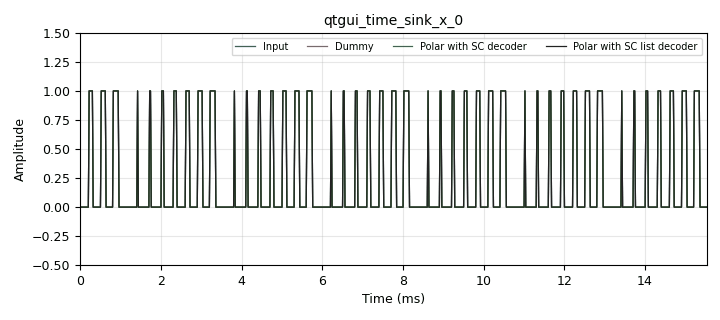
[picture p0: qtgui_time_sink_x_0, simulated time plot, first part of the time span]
<?xml version='1.0' encoding='utf-8'?>
<?grc format='1' created='3.7.9'?>
<flow_graph>
<block>
<key>options</key>
<param><key>id</key><value>fecapi_polar_decoders</value></param>
<param><key>category</key><value>Custom</value></param>
<param><key>generate_options</key><value>qt_gui</value></param>
<param><key>title</key><value>Polar Decoders Example</value></param>
</block>
<block>
<key>variable</key>
<param><key>id</key><value>block_size</value></param>
<param><key>comment</key><value>codeword size of polar codes.

MUST be a power of 2!
MUST be greater than 'frame_size'.</value></param>
<param><key>value</key><value>512</value></param>
</block>
<block>
<key>variable_dummy_decoder_def</key>
<param><key>id</key><value>dec_dummy</value></param>
<param><key>framebits</key><value>frame_size*8</value></param>
<param><key>ndim</key><value>0</value></param>
</block>
<block>
<key>variable_dummy_encoder_def</key>
<param><key>id</key><value>enc_dummy</value></param>
<param><key>framebits</key><value>frame_size*8</value></param>
<param><key>ndim</key><value>0</value></param>
</block>
<block>
<key>variable_polar_code_configurator</key>
<param><key>id</key><value>polar_config</value></param>
<param><key>num_info_bits</key><value>frame_size * 8</value></param>
<param><key>block_size</key><value>block_size</value></param>
<param><key>channel</key><value>polar.CHANNEL_TYPE_BEC</value></param>
<param><key>comment</key><value>Block is used to configure polar encoders and decoders.

returns dictionary with requested configuration.

most important dict values: 'values' and 'positions'</value></param>
<param><key>design_snr</key><value>0.0</value></param>
<param><key>mu</key><value>32</value></param>
</block>
<block>
<key>variable_polar_decoder_sc_def</key>
<param><key>id</key><value>polar_decoder_sc</value></param>
<param><key>num_info_bits</key><value>frame_size * 8</value></param>
<param><key>block_size</key><value>block_size</value></param>
<param><key>comment</key><value>Standard 'Successive Cancellation' decoder.

performs better with greater block size.
This is due to stronger polarization at higher block sizes.</value></param>
<param><key>frozen_bit_positions</key><value>polar_config['positions']</value></param>
<param><key>frozen_bit_values</key><value>polar_config['values']</value></param>
<param><key>ndim</key><value>0</value></param>
</block>
<block>
<key>variable_polar_decoder_sc_list_def</key>
<param><key>id</key><value>polar_decoder_scl</value></param>
<param><key>num_info_bits</key><value>frame_size * 8</value></param>
<param><key>block_size</key><value>block_size</value></param>
<param><key>comment</key><value>Advanced 'Successive Cancellation List' decoder

Greater list size usually results in better decoding performance.
But it is computationally more heavy.</value></param>
<param><key>frozen_bit_positions</key><value>polar_config['positions']</value></param>
<param><key>frozen_bit_values</key><value>polar_config['values']</value></param>
<param><key>max_list_size</key><value>8</value></param>
<param><key>ndim</key><value>0</value></param>
</block>
<block>
<key>variable_polar_encoder_def</key>
<param><key>id</key><value>polar_encoder_sc</value></param>
<param><key>num_info_bits</key><value>frame_size * 8</value></param>
<param><key>block_size</key><value>block_size</value></param>
<param><key>frozen_bit_positions</key><value>polar_config['positions']</value></param>
<param><key>frozen_bit_values</key><value>polar_config['values']</value></param>
<param><key>is_packed</key><value>False</value></param>
<param><key>ndim</key><value>0</value></param>
</block>
<block>
<key>variable_polar_encoder_def</key>
<param><key>id</key><value>polar_encoder_scl</value></param>
<param><key>num_info_bits</key><value>frame_size * 8</value></param>
<param><key>block_size</key><value>block_size</value></param>
<param><key>frozen_bit_positions</key><value>polar_config['positions']</value></param>
<param><key>frozen_bit_values</key><value>polar_config['values']</value></param>
<param><key>is_packed</key><value>False</value></param>
<param><key>ndim</key><value>0</value></param>
</block>
<block>
<key>variable</key>
<param><key>id</key><value>samp_rate</value></param>
<param><key>value</key><value>50000</value></param>
</block>
<block>
<key>analog_random_source_x</key>
<param><key>id</key><value>analog_random_source_x_0</value></param>
<param><key>_enabled</key><value>False</value></param>
<param><key>max</key><value>256</value></param>
<param><key>min</key><value>0</value></param>
<param><key>num_samps</key><value>1000</value></param>
<param><key>type</key><value>byte</value></param>
<param><key>repeat</key><value>True</value></param>
</block>
<block>
<key>blocks_char_to_float</key>
<param><key>id</key><value>blocks_char_to_float_0</value></param>
<param><key>scale</key><value>1</value></param>
</block>
<block>
<key>blocks_char_to_float</key>
<param><key>id</key><value>blocks_char_to_float_0_0</value></param>
<param><key>scale</key><value>1</value></param>
</block>
<block>
<key>blocks_char_to_float</key>
<param><key>id</key><value>blocks_char_to_float_0_0_0</value></param>
<param><key>scale</key><value>1</value></param>
</block>
<block>
<key>blocks_char_to_float</key>
<param><key>id</key><value>blocks_char_to_float_0_0_0_0</value></param>
<param><key>scale</key><value>1</value></param>
</block>
<block>
<key>blocks_char_to_float</key>
<param><key>id</key><value>blocks_char_to_float_0_1</value></param>
<param><key>scale</key><value>1</value></param>
</block>
<block>
<key>blocks_char_to_float</key>
<param><key>id</key><value>blocks_char_to_float_0_2</value></param>
<param><key>scale</key><value>1</value></param>
</block>
<block>
<key>blocks_char_to_float</key>
<param><key>id</key><value>blocks_char_to_float_0_2_0</value></param>
<param><key>scale</key><value>1</value></param>
</block>
<block>
<key>blocks_ctrlport_monitor_performance</key>
<param><key>id</key><value>blocks_ctrlport_monitor_performance_0</value></param>
<param><key>_enabled</key><value>False</value></param>
<param><key>en</key><value>True</value></param>
</block>
<block>
<key>blocks_throttle</key>
<param><key>id</key><value>blocks_throttle_0</value></param>
<param><key>samples_per_second</key><value>samp_rate</value></param>
<param><key>type</key><value>byte</value></param>
</block>
<block>
<key>blocks_unpack_k_bits_bb</key>
<param><key>id</key><value>blocks_unpack_k_bits_bb_0</value></param>
<param><key>k</key><value>8</value></param>
</block>
<block>
<key>blocks_vector_source_x</key>
<param><key>id</key><value>blocks_vector_source_x_0_1_0</value></param>
<param><key>type</key><value>byte</value></param>
<param><key>repeat</key><value>True</value></param>
<param><key>vector</key><value>(frame_size/15)*[0, 0, 1, 0, 3, 0, 7, 0, 15, 0, 31, 0, 63, 0, 127]</value></param>
</block>
<block>
<key>digital_map_bb</key>
<param><key>id</key><value>digital_map_bb_0_0</value></param>
<param><key>map</key><value>[-1, 1]</value></param>
</block>
<block>
<key>digital_map_bb</key>
<param><key>id</key><value>digital_map_bb_0_0_0</value></param>
<param><key>map</key><value>[-1, 1]</value></param>
</block>
<block>
<key>digital_map_bb</key>
<param><key>id</key><value>digital_map_bb_0_0_0_0</value></param>
<param><key>map</key><value>[-1, 1]</value></param>
</block>
<block>
<key>fec_extended_decoder</key>
<param><key>id</key><value>fec_extended_decoder_0</value></param>
<param><key>decoder_list</key><value>polar_decoder_scl</value></param>
<param><key>puncpat</key><value>puncpat</value></param>
<param><key>threadtype</key><value>none</value></param>
</block>
<block>
<key>fec_extended_decoder</key>
<param><key>id</key><value>fec_extended_decoder_0_1</value></param>
<param><key>decoder_list</key><value>polar_decoder_sc</value></param>
<param><key>puncpat</key><value>puncpat</value></param>
<param><key>threadtype</key><value>none</value></param>
</block>
<block>
<key>fec_extended_decoder</key>
<param><key>id</key><value>fec_extended_decoder_0_1_0</value></param>
<param><key>decoder_list</key><value>dec_dummy</value></param>
<param><key>puncpat</key><value>puncpat</value></param>
<param><key>threadtype</key><value>none</value></param>
</block>
<block>
<key>fec_extended_encoder</key>
<param><key>id</key><value>fec_extended_encoder_1</value></param>
<param><key>encoder_list</key><value>polar_encoder_scl</value></param>
<param><key>puncpat</key><value>puncpat</value></param>
<param><key>threadtype</key><value>capillary</value></param>
</block>
<block>
<key>fec_extended_encoder</key>
<param><key>id</key><value>fec_extended_encoder_1_0</value></param>
<param><key>encoder_list</key><value>polar_encoder_sc</value></param>
<param><key>puncpat</key><value>puncpat</value></param>
<param><key>threadtype</key><value>capillary</value></param>
</block>
<block>
<key>fec_extended_encoder</key>
<param><key>id</key><value>fec_extended_encoder_1_0_0</value></param>
<param><key>encoder_list</key><value>enc_dummy</value></param>
<param><key>puncpat</key><value>puncpat</value></param>
<param><key>threadtype</key><value>capillary</value></param>
</block>
<block>
<key>parameter</key>
<param><key>id</key><value>frame_size</value></param>
<param><key>label</key><value>Frame Size</value></param>
<param><key>type</key><value>intx</value></param>
<param><key>value</key><value>30</value></param>
</block>
<block>
<key>parameter</key>
<param><key>id</key><value>puncpat</value></param>
<param><key>type</key><value>string</value></param>
<param><key>value</key><value>'11'</value></param>
</block>
<block>
<key>qtgui_time_sink_x</key>
<param><key>id</key><value>qtgui_time_sink_x_0</value></param>
<param><key>color1</key><value>"blue"</value></param>
<param><key>label1</key><value>Input</value></param>
<param><key>alpha2</key><value>0.6</value></param>
<param><key>color2</key><value>"red"</value></param>
<param><key>label2</key><value>Dummy</value></param>
<param><key>color3</key><value>"green"</value></param>
<param><key>label3</key><value>Polar with SC decoder</value></param>
<param><key>color4</key><value>"black"</value></param>
<param><key>label4</key><value>Polar with SC list decoder</value></param>
<param><key>name</key><value></value></param>
<param><key>nconnections</key><value>4</value></param>
<param><key>size</key><value>2048</value></param>
<param><key>srate</key><value>samp_rate</value></param>
<param><key>type</key><value>float</value></param>
<param><key>update_time</key><value>0.01</value></param>
<param><key>ymax</key><value>1.5</value></param>
<param><key>ymin</key><value>-0.5</value></param>
</block>
<connection><source_block_id>analog_random_source_x_0</source_block_id><sink_block_id>blocks_throttle_0</sink_block_id><source_key>0</source_key><sink_key>0</sink_key></connection>
<connection><source_block_id>blocks_char_to_float_0</source_block_id><sink_block_id>fec_extended_decoder_0</sink_block_id><source_key>0</source_key><sink_key>0</sink_key></connection>
<connection><source_block_id>blocks_char_to_float_0_0</source_block_id><sink_block_id>qtgui_time_sink_x_0</sink_block_id><source_key>0</source_key><sink_key>3</sink_key></connection>
<connection><source_block_id>blocks_char_to_float_0_0_0</source_block_id><sink_block_id>qtgui_time_sink_x_0</sink_block_id><source_key>0</source_key><sink_key>2</sink_key></connection>
<connection><source_block_id>blocks_char_to_float_0_0_0_0</source_block_id><sink_block_id>qtgui_time_sink_x_0</sink_block_id><source_key>0</source_key><sink_key>1</sink_key></connection>
<connection><source_block_id>blocks_char_to_float_0_1</source_block_id><sink_block_id>qtgui_time_sink_x_0</sink_block_id><source_key>0</source_key><sink_key>0</sink_key></connection>
<connection><source_block_id>blocks_char_to_float_0_2</source_block_id><sink_block_id>fec_extended_decoder_0_1</sink_block_id><source_key>0</source_key><sink_key>0</sink_key></connection>
<connection><source_block_id>blocks_char_to_float_0_2_0</source_block_id><sink_block_id>fec_extended_decoder_0_1_0</sink_block_id><source_key>0</source_key><sink_key>0</sink_key></connection>
<connection><source_block_id>blocks_throttle_0</source_block_id><sink_block_id>blocks_unpack_k_bits_bb_0</sink_block_id><source_key>0</source_key><sink_key>0</sink_key></connection>
<connection><source_block_id>blocks_unpack_k_bits_bb_0</source_block_id><sink_block_id>blocks_char_to_float_0_1</sink_block_id><source_key>0</source_key><sink_key>0</sink_key></connection>
<connection><source_block_id>blocks_unpack_k_bits_bb_0</source_block_id><sink_block_id>fec_extended_encoder_1</sink_block_id><source_key>0</source_key><sink_key>0</sink_key></connection>
<connection><source_block_id>blocks_unpack_k_bits_bb_0</source_block_id><sink_block_id>fec_extended_encoder_1_0</sink_block_id><source_key>0</source_key><sink_key>0</sink_key></connection>
<connection><source_block_id>blocks_unpack_k_bits_bb_0</source_block_id><sink_block_id>fec_extended_encoder_1_0_0</sink_block_id><source_key>0</source_key><sink_key>0</sink_key></connection>
<connection><source_block_id>blocks_vector_source_x_0_1_0</source_block_id><sink_block_id>blocks_throttle_0</sink_block_id><source_key>0</source_key><sink_key>0</sink_key></connection>
<connection><source_block_id>digital_map_bb_0_0</source_block_id><sink_block_id>blocks_char_to_float_0</sink_block_id><source_key>0</source_key><sink_key>0</sink_key></connection>
<connection><source_block_id>digital_map_bb_0_0_0</source_block_id><sink_block_id>blocks_char_to_float_0_2</sink_block_id><source_key>0</source_key><sink_key>0</sink_key></connection>
<connection><source_block_id>digital_map_bb_0_0_0_0</source_block_id><sink_block_id>blocks_char_to_float_0_2_0</sink_block_id><source_key>0</source_key><sink_key>0</sink_key></connection>
<connection><source_block_id>fec_extended_decoder_0</source_block_id><sink_block_id>blocks_char_to_float_0_0</sink_block_id><source_key>0</source_key><sink_key>0</sink_key></connection>
<connection><source_block_id>fec_extended_decoder_0_1</source_block_id><sink_block_id>blocks_char_to_float_0_0_0</sink_block_id><source_key>0</source_key><sink_key>0</sink_key></connection>
<connection><source_block_id>fec_extended_decoder_0_1_0</source_block_id><sink_block_id>blocks_char_to_float_0_0_0_0</sink_block_id><source_key>0</source_key><sink_key>0</sink_key></connection>
<connection><source_block_id>fec_extended_encoder_1</source_block_id><sink_block_id>digital_map_bb_0_0</sink_block_id><source_key>0</source_key><sink_key>0</sink_key></connection>
<connection><source_block_id>fec_extended_encoder_1_0</source_block_id><sink_block_id>digital_map_bb_0_0_0</sink_block_id><source_key>0</source_key><sink_key>0</sink_key></connection>
<connection><source_block_id>fec_extended_encoder_1_0_0</source_block_id><sink_block_id>digital_map_bb_0_0_0_0</sink_block_id><source_key>0</source_key><sink_key>0</sink_key></connection>
</flow_graph>
